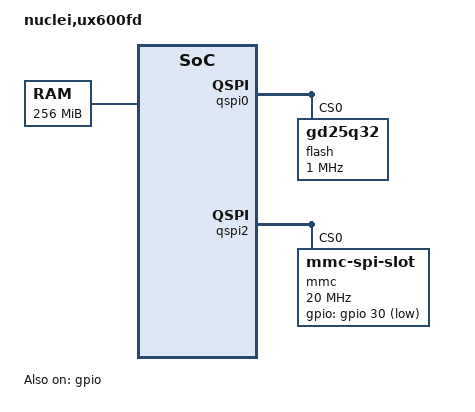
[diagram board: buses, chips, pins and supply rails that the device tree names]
/dts-v1/;

/ {
  #address-cells = <2>;
  #size-cells = <2>;
  compatible = "nuclei,ux600fd";
  model = "nuclei,ux600fd";
  
  chosen {
     bootargs = "earlycon=sbi";
  };

  cpus {
    #address-cells = <1>;
    #size-cells = <0>;
    timebase-frequency = <32768>;
    cpu0: cpu@0 {
      device_type = "cpu";
      reg = <0>;
      status = "okay";
      compatible = "riscv";
      riscv,isa = "rv64imafdc";
      mmu-type = "riscv,sv39";
      clock-frequency = <16000000>;
      cpu0_intc: interrupt-controller {
        #interrupt-cells = <1>;
        interrupt-controller;
        compatible = "riscv,cpu-intc";
      };
    };
  };

  memory@A0000000 {
    device_type = "memory";
    reg = <0x0 0xA0000000 0x0 0x10000000>;
  };

  soc {
    #address-cells = <2>;
    #size-cells = <2>;
    compatible = "nuclei,ux600fd", "simple-bus";
    ranges;
  };

  /* Used for Uboot SBI Console */
  console {
    compatible = "sbi,console";
  };

  hfclk: hfclk {
    #clock-cells = <0>;
    compatible = "fixed-clock";
    clock-frequency = <16000000>;
    clock-output-names = "hfclk";
  };
  
  plic0: interrupt-controller@8000000 {
    #interrupt-cells = <1>;
    compatible = "riscv,plic0";
    interrupt-controller;
    riscv,ndev = <53>;
    interrupts-extended =
          <&cpu0_intc 11 &cpu0_intc 9>;
    reg = <0x0 0x8000000 0x0 0x4000000>;
  };

  uart0: serial@10013000 {
    compatible = "sifive,uart0";
    reg = <0x0 0x10013000 0x0 0x1000>;
    interrupt-parent = <&plic0>;
    interrupts = <4>;
    clocks = <&hfclk>;
    status = "disabled";
  };

  uart1: serial@10023000 {
    compatible = "sifive,uart0";
    reg = <0x0 0x10023000 0x0 0x1000>;
    interrupt-parent = <&plic0>;
    interrupts = <5>;
    clocks = <&hfclk>;
    status = "disabled";
  };

  qspi0: spi@10014000 {
    compatible = "nuclei,spi0";
    reg = <0x0 0x10014000 0x0 0x1000>;
    interrupt-parent = <&plic0>;
    interrupts = <34>;
    num-cs = <1>;
    #address-cells = <1>;
    #size-cells = <0>;
    clocks = <&hfclk>;
    status = "okay";

    flash@0 {
      compatible = "gd25q32", "jedec,spi-nor";
      reg = <0>;
      spi-max-frequency = <1000000>;
      // m25p,fast-read;
      #spi-tx-bus-width = <1>;
      #spi-rx-bus-width = <1>;
    };
  };

  qspi2: spi@10034000 {
    compatible = "nuclei,spi0";
    reg = <0x0 0x10034000 0x0 0x1000>;
    interrupt-parent = <&plic0>;
    interrupts = <36>;
    num-cs = <1>;
    #address-cells = <1>;
    #size-cells = <0>;
    clocks = <&hfclk>;
    status = "okay";

    mmc@0 {
      compatible = "mmc-spi-slot";
      reg = <0>;
      spi-max-frequency = <20000000>;
      voltage-ranges = <3300 3300>;
      disable-wp;
      gpios = <&gpio 30 31>;
    };
  };

  gpio: gpio@10012000 {
    compatible = "sifive,gpio0";
    interrupt-parent = <&plic0>;
    interrupts = <7>, <8>, <9>, <10>, <11>, <12>, <13>,
            <14>, <15>, <16>, <17>, <18>, <19>, <20>,
            <21>, <22>;
    reg = <0x0 0x10012000 0x0 0x1000>;
    gpio-controller;
    #gpio-cells = <2>;
    interrupt-controller;
    #interrupt-cells = <2>;
    clocks = <&hfclk>;
    status = "okay";
  };
};
